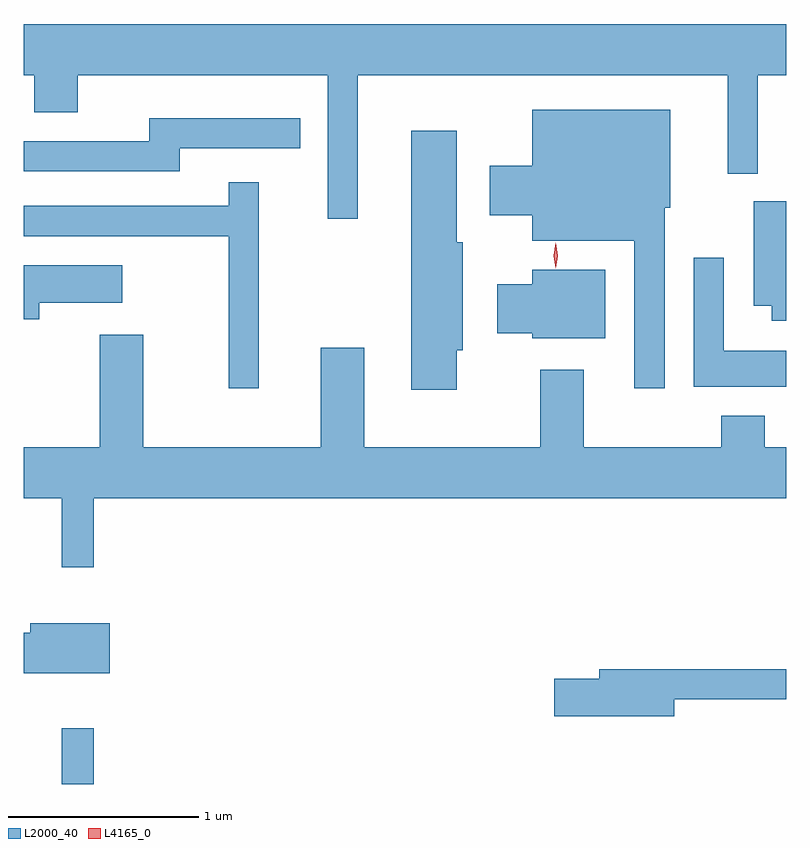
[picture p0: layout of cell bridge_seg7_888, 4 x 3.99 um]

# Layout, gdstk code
import gdstk
lib = gdstk.Library(unit=1e-6, precision=1e-09)
def R(c, l, rs):  # rectangles x0, y0, x1, y1
    for r in rs: c.add(gdstk.rectangle(r[:2], r[2:], *l))
def P(c, l, *ps):  # polygons
    for p in ps: c.add(gdstk.Polygon(p, *l))
L2000_40 = (2000, 40)
L4165_0 = (4165, 0)

bridge_seg7_888 = lib.new_cell('bridge_seg7_888')
R(bridge_seg7_888, L2000_40, [(429.131,1670.636,429.299,1670.928)])
P(bridge_seg7_888, L2000_40, [(430.684,1674.356),(432.626,1674.356),(432.626,1673.838),(432.784,1673.838),(432.784,1674.356),(432.932,1674.356),(432.932,1674.624),(428.932,1674.624),(428.932,1674.356),(428.986,1674.356),(428.986,1674.161),(429.214,1674.161),(429.214,1674.356),(430.526,1674.356),(430.526,1673.603),(430.684,1673.603)],
  [(432.294,1673.661),(432.324,1673.661),(432.324,1674.174),(431.601,1674.174),(431.601,1673.879),(431.376,1673.879),(431.376,1673.621),(431.601,1673.621),(431.601,1673.486),(432.136,1673.486),(432.136,1672.713),(432.294,1672.713)],
  [(429.749,1673.971),(430.383,1673.971),(430.383,1674.129),(429.591,1674.129),(429.591,1674.009),(428.932,1674.009),(428.932,1673.851),(429.749,1673.851)],
  [(431.204,1672.911),(431.234,1672.911),(431.234,1673.479),(431.204,1673.479),(431.204,1674.064),(430.966,1674.064),(430.966,1672.706),(431.204,1672.706)],
  [(430.164,1673.793),(430.006,1673.793),(430.006,1673.669),(428.932,1673.669),(428.932,1673.511),(430.006,1673.511),(430.006,1672.713),(430.164,1672.713)],
  [(432.932,1673.694),(432.761,1673.694),(432.761,1673.146),(432.856,1673.146),(432.856,1673.066),(432.932,1673.066)],
  [(432.932,1672.909),(432.604,1672.909),(432.604,1673.398),(432.446,1673.398),(432.446,1672.721),(432.932,1672.721)],
  [(429.014,1673.161),(429.449,1673.161),(429.449,1673.359),(428.932,1673.359),(428.932,1673.076),(429.014,1673.076)],
  [(431.984,1673.334),(431.601,1673.334),(431.601,1673.259),(431.416,1673.259),(431.416,1673.001),(431.601,1673.001),(431.601,1672.976),(431.984,1672.976)],
  [(429.299,1672.136),(432.932,1672.136),(432.932,1672.404),(432.819,1672.404),(432.819,1672.569),(432.591,1672.569),(432.591,1672.404),(431.869,1672.404),(431.869,1672.809),(431.641,1672.809),(431.641,1672.404),(430.719,1672.404),(430.719,1672.924),(430.491,1672.924),(430.491,1672.404),(429.559,1672.404),(429.559,1672.994),(429.331,1672.994),(429.331,1672.404),(428.932,1672.404),(428.932,1672.136),(429.131,1672.136),(429.131,1671.773),(429.299,1671.773)],
  [(429.384,1671.479),(428.966,1671.479),(428.966,1671.429),(428.932,1671.429),(428.932,1671.216),(429.384,1671.216)],
  [(432.344,1671.081),(432.932,1671.081),(432.932,1671.239),(431.951,1671.239),(431.951,1671.189),(431.716,1671.189),(431.716,1670.991),(432.344,1670.991)])
P(bridge_seg7_888, L4165_0, [(431.722,1673.343),(431.713,1673.409),(431.722,1673.476),(431.723,1673.476),(431.723,1673.476),(431.733,1673.409),(431.723,1673.343),(431.723,1673.343)])

lib.write_gds('bridge_seg7_888.gds')
